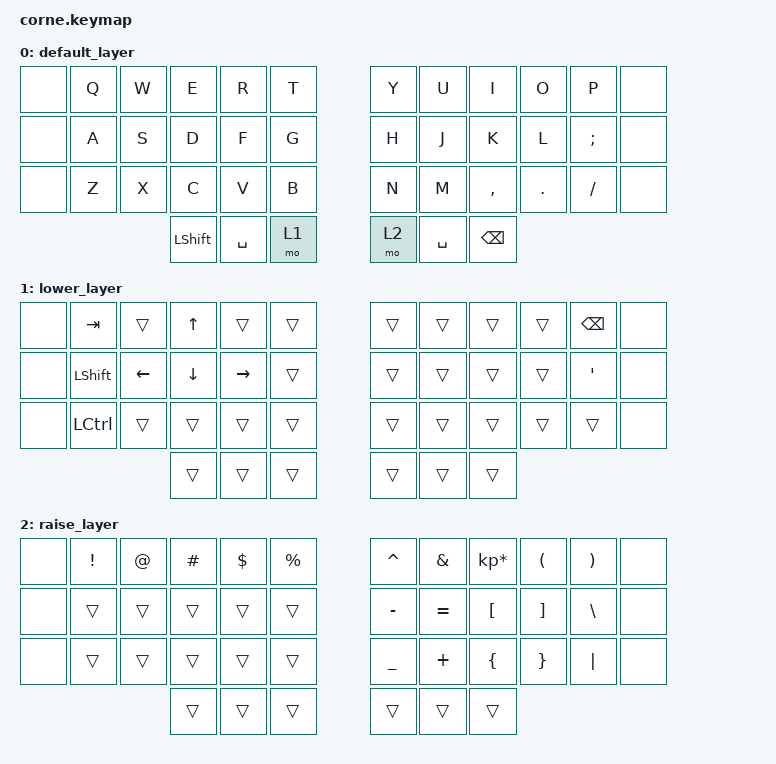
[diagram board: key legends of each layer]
/*
 * Copyright (c) 2020 The ZMK Contributors
 *
 * SPDX-License-Identifier: MIT
 */

#include <behaviors.dtsi>
#include <dt-bindings/zmk/keys.h>

/ {
    keymap {
        compatible = "zmk,keymap";

        default_layer {
            // -----------------------------------------------------------------------------------------
            // |  ESC |  Q  |  W  |  E  |  R  |  T  |   |  Y  |  U   |  I  |  O  |  P  | BKSP |
            // | SHIFT|  A  |  S  |  D  |  F  |  G  |   |  H  |  J   |  K  |  L  |  ;  |  '   |
            // | CTRL |  Z  |  X  |  C  |  V  |  B  |   |  N  |  M   |  ,  |  .  |  /  | ENT  |
            //                    | GUI | SPC | LWR |   | RSE | SPC  | ALT |

            bindings = <
&none  &kp Q  &kp W  &kp E           &kp R      &kp T    &kp Y  &kp U      &kp I          &kp O    &kp P     &none
&none  &kp A  &kp S  &kp D           &kp F      &kp G    &kp H  &kp J      &kp K          &kp L    &kp SEMI  &none
&none  &kp Z  &kp X  &kp C           &kp V      &kp B    &kp N  &kp M      &kp COMMA      &kp DOT  &kp FSLH  &none
                     &kp LEFT_SHIFT  &kp SPACE  &mo 1    &mo 2  &kp SPACE  &kp BACKSPACE
            >;
        };

        lower_layer {
            // -----------------------------------------------------------------------------------------
            // |  ESC |  1  |  2  |  3  |  4  |  5  |   |  6  |  7  |  8  |  9  |  0  | TAB  |
            // |LSHFT |     |     |     |     |     |   |     | UP  |     |     |     |      |
            // |BTCLR | BT1 | BT2 | BT3 | BT4 | BT5 |   | LFT | DWN | RGT |     |     |      |
            //                    | GUI | SPC |     |   |     | SPC | ALT |

            bindings = <
&none  &kp TAB           &trans          &kp UP_ARROW  &trans     &trans    &trans  &trans  &trans  &trans  &kp BACKSPACE  &none
&none  &kp LEFT_SHIFT    &kp LEFT_ARROW  &kp DOWN      &kp RIGHT  &trans    &trans  &trans  &trans  &trans  &kp APOS       &none
&none  &kp LEFT_CONTROL  &trans          &trans        &trans     &trans    &trans  &trans  &trans  &trans  &trans         &none
                                         &trans        &trans     &trans    &trans  &trans  &trans
            >;
        };

        raise_layer {
            // -----------------------------------------------------------------------------------------
            // |  ESC |  1  |  2  |  3  |  4  |  5  |   |  ^  |  &  |  *  |  (  |  )  | BKSP |
            // | CTRL |  6  |  7  |  8  |  9  |  0  |   |  -  |  =  |  [  |  ]  |  \  |  `   |
            // | SHFT |  !  |  @  |  #  |  $  |  %  |   |  _  |  +  |  {  |  }  | "|" |  ~   |
            //                    | GUI | SPC |     |   |     | SPC | ALT |

            bindings = <
&none  &kp EXCL  &kp AT  &kp HASH  &kp DLLR  &kp PRCNT    &kp CARET  &kp AMPS   &kp KP_MULTIPLY  &kp LPAR  &kp RPAR  &none
&none  &trans    &trans  &trans    &trans    &trans       &kp MINUS  &kp EQUAL  &kp LBKT         &kp RBKT  &kp BSLH  &none
&none  &trans    &trans  &trans    &trans    &trans       &kp UNDER  &kp PLUS   &kp LBRC         &kp RBRC  &kp PIPE  &none
                         &trans    &trans    &trans       &trans     &trans     &trans
            >;
        };
    };
};
